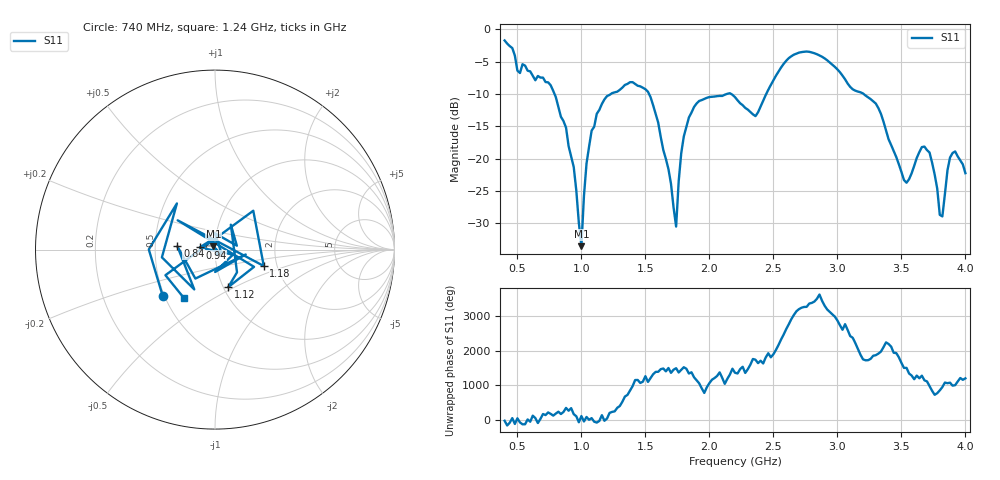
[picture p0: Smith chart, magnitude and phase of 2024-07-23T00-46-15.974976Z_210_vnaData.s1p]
!Created with skrf (http://scikit-rf.org).
# Hz S RI R 50.0
!freq ReS11 ImS11
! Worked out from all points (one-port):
!   181 points, 400 MHz to 4 GHz, reference 50 ohm
!   lowest |S11| = -33.6 dB at 1 GHz (marker M1), VSWR 1.04, Z = 49 + j1.84 ohm
!   |S11| at or under -10 dB: 789.7 MHz to 1.231 GHz (441.5 MHz wide, 43.7 % of centre); 1.528 GHz to 2.138 GHz (609.5 MHz wide, 33.3 % of centre); 3.204 GHz to end of sweep (the widest 3 of 4)
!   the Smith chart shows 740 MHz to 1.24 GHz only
!   S11 on the Smith chart (normalised r, x): 740 MHz: 0.49, -0.30; 840 MHz: 0.65, +0.02; 940 MHz: 0.84, +0.02; 1.12 GHz: 1.05, -0.46; 1.18 GHz: 1.70, -0.34; 1.24 GHz: 0.62, -0.37
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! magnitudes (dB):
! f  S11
! 400 MHz  -1.7
! 500 MHz  -6.4
! 740 MHz  -8.2
! 840 MHz  -13.5
! 860 MHz  -14.2
! 940 MHz  -21.3
! 1 GHz  -33.6
! 1.04 GHz  -20.8
! 1.12 GHz  -13.1
! 1.18 GHz  -10.8
! 1.24 GHz  -9.9
! 1.3 GHz  -9.4
! 1.54 GHz  -10.5
! 1.68 GHz  -21.6
! 1.74 GHz  -30.5
! 1.76 GHz  -23.5
! 1.8 GHz  -16.6
! 1.88 GHz  -12.0
! 2.2 GHz  -10.5
! 2.36 GHz  -13.4
! 2.66 GHz  -3.9
! 3.1 GHz  -8.9
! 3.3 GHz  -11.5
! 3.56 GHz  -23.2
! 3.68 GHz  -18.2
! 3.82 GHz  -29.0
! 3.88 GHz  -19.9
! 4 GHz  -22.3
